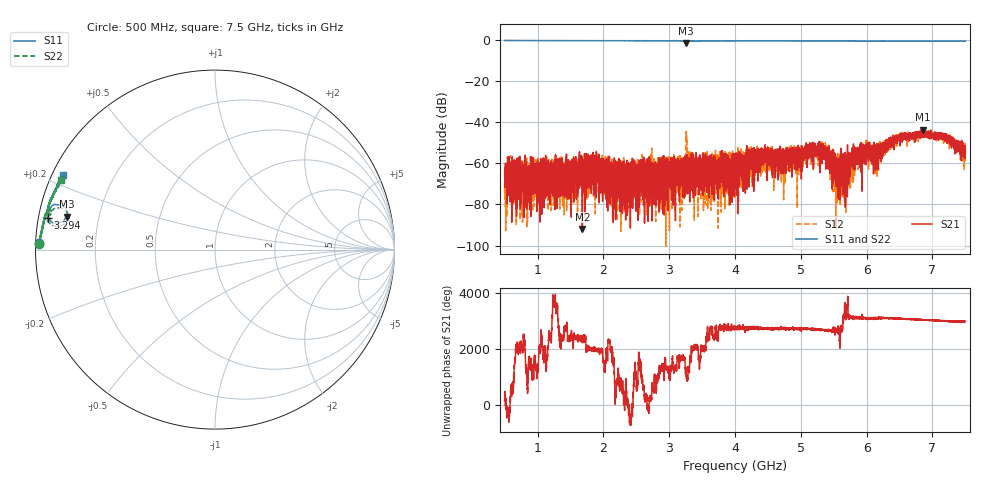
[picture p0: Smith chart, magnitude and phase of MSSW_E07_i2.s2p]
!Keysight Technologies,M9374A,MY55442783,A.12.55.05
!Date: Thursday, May 20, 2021 16:52:03
!Correction: S11(Full 2 Port(1,2))
!S21(Full 2 Port(1,2))
!S12(Full 2 Port(1,2))
!S22(Full 2 Port(1,2))
!S2P File: Measurements: S11, S21, S12, S22:
# Hz S  RI  R 50
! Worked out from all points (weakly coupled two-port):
!   7001 points, 500 MHz to 7.5 GHz, reference 50 ohm
!   highest |S21| = -43.62 dB at 6.857 GHz (marker M1); lowest = -91.9 dB at 1.681 GHz (marker M2)
!   lowest |S11| = -1.5 dB at 3.249 GHz (marker M3), VSWR 11.78, Z = 4.3 + j5.48 ohm
!   |S11| at or under -10 dB: nowhere
!   |S22| runs from -1.6 to -0.2 dB; largest |S21 - S12| = 0.0068
!   S11 on the Smith chart (normalised r, x): 500 MHz: 0.01, +0.02; 3.294 GHz: 0.03, +0.09; 7.5 GHz: 0.03, +0.23
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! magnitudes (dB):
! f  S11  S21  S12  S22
! 500 MHz  -0.2  -66.0  -69.3  -0.2
! 870 MHz  -0.2  -61.7  -66.4  -0.2
! 1.667 GHz  -0.3  -66.3  -62.6  -0.2
! 1.681 GHz  -0.3  -91.9  -68.2  -0.3
! 1.84 GHz  -0.3  -60.0  -67.3  -0.3
! 2.299 GHz  -0.3  -62.4  -74.0  -0.3
! 2.834 GHz  -0.3  -59.8  -64.3  -0.3
! 3.206 GHz  -0.5  -67.5  -64.7  -0.6
! 3.249 GHz  -1.5  -66.7  -60.7  -1.6
! 3.294 GHz  -0.5  -69.0  -56.0  -0.5
! 3.411 GHz  -0.5  -54.7  -62.5  -0.6
! 4 GHz  -0.4  -59.1  -59.5  -0.4
! 5.167 GHz  -0.4  -54.1  -53.3  -0.4
! 5.364 GHz  -0.4  -53.1  -54.3  -0.4
! 5.558 GHz  -0.4  -64.0  -62.4  -0.4
! 5.632 GHz  -0.4  -60.3  -64.2  -0.4
! 5.834 GHz  -0.5  -57.4  -56.6  -0.4
! 6.145 GHz  -0.5  -56.2  -56.3  -0.4
! 6.334 GHz  -0.5  -51.6  -47.8  -0.5
! 6.857 GHz  -0.5  -43.6  -45.1  -0.5
! 7.25 GHz  -0.5  -48.0  -48.4  -0.5
! 7.5 GHz  -0.5  -52.2  -53.9  -0.5
